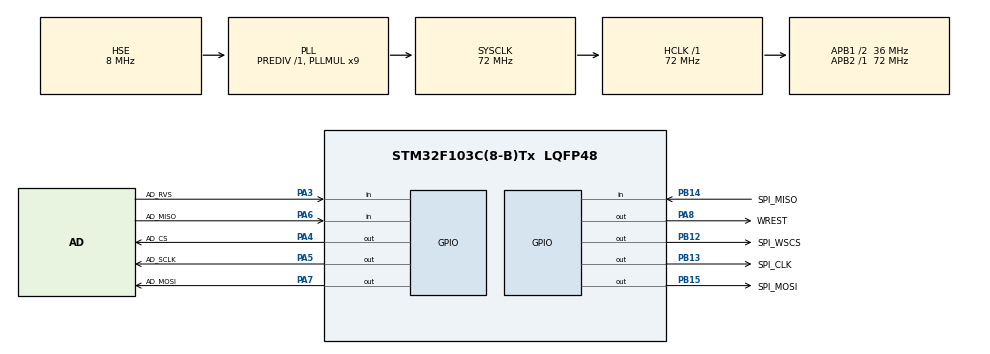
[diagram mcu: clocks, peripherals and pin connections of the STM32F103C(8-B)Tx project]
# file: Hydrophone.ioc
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IWDG.Prescaler=IWDG_PRESCALER_256
Mcu.Family=STM32F1
Mcu.Name=STM32F103C(8-B)Tx
Mcu.Package=LQFP48
NVIC.PriorityGroup=NVIC_PRIORITYGROUP_4
NVIC.TIM4_IRQn=true\:1\:0\:true\:false\:true\:true
PA13.Mode=Serial_Wire
PA13.Signal=SYS_JTMS-SWDIO
PA14.Mode=Serial_Wire
PA14.Signal=SYS_JTCK-SWCLK
PA3.GPIO_Label=AD_RVS
PA3.Signal=GPIO_Input
PA4.GPIO_Label=AD_CS
PA4.Signal=GPIO_Output
PA5.GPIO_Label=AD_SCLK
PA5.Signal=GPIO_Output
PA6.GPIO_Label=AD_MISO
PA6.Signal=GPIO_Input
PA7.GPIO_Label=AD_MOSI
PA7.GPIO_Speed=GPIO_SPEED_FREQ_HIGH
PA7.Signal=GPIO_Output
PA8.GPIO_Label=WREST
PA8.Signal=GPIO_Output
PB12.GPIO_Label=SPI_WSCS
PB12.GPIO_Speed=GPIO_SPEED_FREQ_HIGH
PB12.Signal=GPIO_Output
PB13.GPIO_Label=SPI_CLK
PB13.GPIO_Speed=GPIO_SPEED_FREQ_HIGH
PB13.Signal=GPIO_Output
PB14.GPIO_Label=SPI_MISO
PB14.Signal=GPIO_Input
PB15.GPIO_Label=SPI_MOSI
PB15.GPIO_Speed=GPIO_SPEED_FREQ_HIGH
PB15.Signal=GPIO_Output
PD0-OSC_IN.Mode=HSE-External-Oscillator
PD0-OSC_IN.Signal=RCC_OSC_IN
PD1-OSC_OUT.Mode=HSE-External-Oscillator
PD1-OSC_OUT.Signal=RCC_OSC_OUT
ProjectManager.HeapSize=0x200
ProjectManager.StackSize=0x400
ProjectManager.TargetToolchain=Other Toolchains (GPDSC)
RCC.AHBFreq_Value=72000000
RCC.APB1CLKDivider=RCC_HCLK_DIV2
RCC.APB1Freq_Value=36000000
RCC.APB1TimFreq_Value=72000000
RCC.APB2Freq_Value=72000000
RCC.APB2TimFreq_Value=72000000
RCC.HCLKFreq_Value=72000000
RCC.PLLMUL=RCC_PLL_MUL9
RCC.PLLSourceVirtual=RCC_PLLSOURCE_HSE
RCC.SYSCLKFreq_VALUE=72000000
RCC.SYSCLKSource=RCC_SYSCLKSOURCE_PLLCLK
RCC.USBFreq_Value=72000000
TIM4.AutoReloadPreload=TIM_AUTORELOAD_PRELOAD_ENABLE
TIM4.Period=4000
TIM4.Prescaler=9
VP_IWDG_VS_IWDG.Mode=IWDG_Activate
VP_TIM4_VS_ClockSourceINT.Mode=Internal
board=Hydrophone

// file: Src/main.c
/**
  ******************************************************************************
  * File Name          : main.c
  * Description        : Main program body
  ******************************************************************************
  ** This notice applies to any and all portions of this file
  * that are not between comment pairs USER CODE BEGIN and
  * USER CODE END. Other portions of this file, whether
  * inserted by the user or by software development tools
  * are owned by their respective copyright owners.
  *
  * COPYRIGHT(c) 2018 STMicroelectronics
  *
  * Redistribution and use in source and binary forms, with or without modification,
  * are permitted provided that the following conditions are met:
  *   1. Redistributions of source code must retain the above copyright notice,
  *      this list of conditions and the following disclaimer.
  *   2. Redistributions in binary form must reproduce the above copyright notice,
  *      this list of conditions and the following disclaimer in the documentation
  *      and/or other materials provided with the distribution.
  *   3. Neither the name of STMicroelectronics nor the names of its contributors
  *      may be used to endorse or promote products derived from this software
  *      without specific prior written permission.
  *
  * THIS SOFTWARE IS PROVIDED BY THE COPYRIGHT HOLDERS AND CONTRIBUTORS "AS IS"
  * AND ANY EXPRESS OR IMPLIED WARRANTIES, INCLUDING, BUT NOT LIMITED TO, THE
  * IMPLIED WARRANTIES OF MERCHANTABILITY AND FITNESS FOR A PARTICULAR PURPOSE ARE
  * DISCLAIMED. IN NO EVENT SHALL THE COPYRIGHT HOLDER OR CONTRIBUTORS BE LIABLE
  * FOR ANY DIRECT, INDIRECT, INCIDENTAL, SPECIAL, EXEMPLARY, OR CONSEQUENTIAL
  * DAMAGES (INCLUDING, BUT NOT LIMITED TO, PROCUREMENT OF SUBSTITUTE GOODS OR
  * SERVICES; LOSS OF USE, DATA, OR PROFITS; OR BUSINESS INTERRUPTION) HOWEVER
  * CAUSED AND ON ANY THEORY OF LIABILITY, WHETHER IN CONTRACT, STRICT LIABILITY,
  * OR TORT (INCLUDING NEGLIGENCE OR OTHERWISE) ARISING IN ANY WAY OUT OF THE USE
  * OF THIS SOFTWARE, EVEN IF ADVISED OF THE POSSIBILITY OF SUCH DAMAGE.
  *
  ******************************************************************************
  */

#include "main.h"
#include "stm32f1xx_hal.h"
#include "iwdg.h"
#include "tim.h"
#include "gpio.h"

/* USER CODE BEGIN Includes */
#include "..\wf\ADS8689_Conf.h"
#include "..\wf\w5500_Work.h"
#include "ADS8689.h"
#include "Variables.h"
/* USER CODE END Includes */

/* USER CODE BEGIN PV */
/* Private variables ---------------------------------------------------------*/
uint32_t MissServerTick;
/* USER CODE END PV */

void SystemClock_Config(void);

/* USER CODE BEGIN PFP */
/* Private function prototypes -----------------------------------------------*/

/* USER CODE END PFP */

int main(void)
{

  /* MCU Configuration----------------------------------------------------------*/

  /* Reset of all peripherals, Initializes the Flash interface and the Systick. */
  HAL_Init();

  /* Configure the system clock */
  SystemClock_Config();

  /* Initialize all configured peripherals */
  MX_GPIO_Init();
  MX_TIM4_Init();
  MX_IWDG_Init();

  /* USER CODE BEGIN 2 */
  ADS8689_CS_High();
  wfDelay_init(72);
  SimSPI_Init();
  SimSPI2_Init();

  InitSystemParam();
  Reset_W5500();
  ADS8689_Setting(0x14,0x0004);//0~5.12V 1011//0010 -10~10
  HAL_TIM_Base_Start_IT(&htim4);
  w5500LibInit();
  MissServerTick=HAL_GetTick();
  /* USER CODE END 2 */

  /* Infinite loop */
  while (1)
  {

  /* USER CODE BEGIN 3 */
	  HAL_IWDG_Refresh(&hiwdg);
	  if(w5500Retry>10)
	  {
		  NVIC_SystemReset();
	  }
	  if(MissServer>10)
	  {
		  Reset_W5500();
		  w5500LibInit();
		  MissServer=0;
		  w5500Retry++;
	  }
	  if(bW5500Net==0)
	  {
		  if(GetDeltaTick(MissServerTick)>60000)
		  {
			  MissServerTick=HAL_GetTick();
			  MissServer++;
		  }
		  w5500LibInit();
	  }
	  else
	  {
		  loopback_tcpc();
	  }
  }
  /* USER CODE END 3 */

}

/** System Clock Configuration
*/
void SystemClock_Config(void)
{

  RCC_OscInitTypeDef RCC_OscInitStruct;
  RCC_ClkInitTypeDef RCC_ClkInitStruct;

    /**Initializes the CPU, AHB and APB busses clocks
    */
  RCC_OscInitStruct.OscillatorType = RCC_OSCILLATORTYPE_LSI|RCC_OSCILLATORTYPE_HSE;
  RCC_OscInitStruct.HSEState = RCC_HSE_ON;
  RCC_OscInitStruct.HSEPredivValue = RCC_HSE_PREDIV_DIV1;
  RCC_OscInitStruct.HSIState = RCC_HSI_ON;
  RCC_OscInitStruct.LSIState = RCC_LSI_ON;
  RCC_OscInitStruct.PLL.PLLState = RCC_PLL_ON;
  RCC_OscInitStruct.PLL.PLLSource = RCC_PLLSOURCE_HSE;
  RCC_OscInitStruct.PLL.PLLMUL = RCC_PLL_MUL9;
  if (HAL_RCC_OscConfig(&RCC_OscInitStruct) != HAL_OK)
  {
    _Error_Handler(__FILE__, __LINE__);
  }

    /**Initializes the CPU, AHB and APB busses clocks
    */
  RCC_ClkInitStruct.ClockType = RCC_CLOCKTYPE_HCLK|RCC_CLOCKTYPE_SYSCLK
                              |RCC_CLOCKTYPE_PCLK1|RCC_CLOCKTYPE_PCLK2;
  RCC_ClkInitStruct.SYSCLKSource = RCC_SYSCLKSOURCE_PLLCLK;
  RCC_ClkInitStruct.AHBCLKDivider = RCC_SYSCLK_DIV1;
  RCC_ClkInitStruct.APB1CLKDivider = RCC_HCLK_DIV2;
  RCC_ClkInitStruct.APB2CLKDivider = RCC_HCLK_DIV1;

  if (HAL_RCC_ClockConfig(&RCC_ClkInitStruct, FLASH_LATENCY_2) != HAL_OK)
  {
    _Error_Handler(__FILE__, __LINE__);
  }

    /**Configure the Systick interrupt time
    */
  HAL_SYSTICK_Config(HAL_RCC_GetHCLKFreq()/1000);

    /**Configure the Systick
    */
  HAL_SYSTICK_CLKSourceConfig(SYSTICK_CLKSOURCE_HCLK);

  /* SysTick_IRQn interrupt configuration */
  HAL_NVIC_SetPriority(SysTick_IRQn, 0, 0);
}

void _Error_Handler(char * file, int line)
{
  /* USER CODE BEGIN Error_Handler_Debug */
  /* User can add his own implementation to report the HAL error return state */
  while(1)
  {
	  NVIC_SystemReset();
  }
  /* USER CODE END Error_Handler_Debug */
}

/************************ (C) COPYRIGHT STMicroelectronics *****END OF FILE****/
